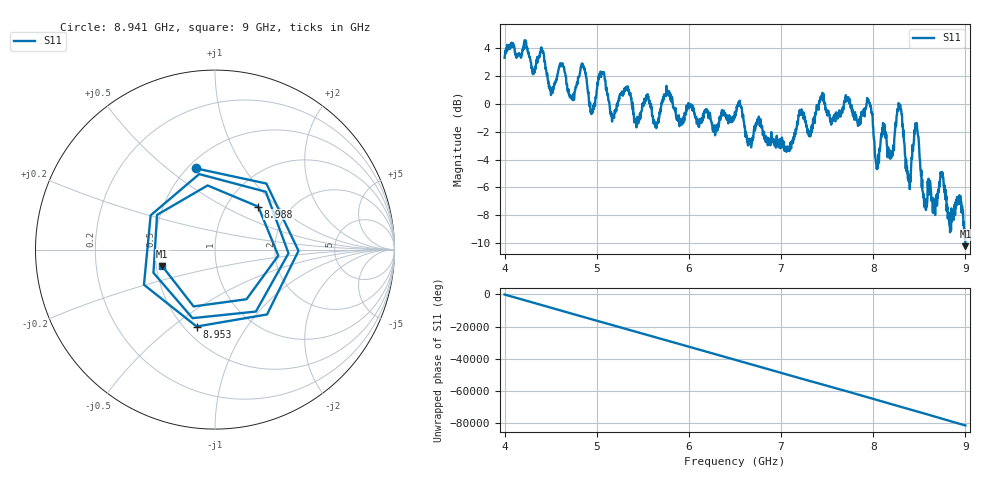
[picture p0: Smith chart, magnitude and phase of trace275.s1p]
! Created with skrf 1.8.0 (http://scikit-rf.org).
# Hz S RI R 50.0
!freq ReS11 ImS11
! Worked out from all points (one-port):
!   1601 points, 4 GHz to 9 GHz, reference 50 ohm
!   lowest |S11| = -10.2 dB at 9 GHz (marker M1), VSWR 1.89, Z = 26.9 - j5.52 ohm
!   |S11| at or under -10 dB: 8.999137 GHz to end of sweep
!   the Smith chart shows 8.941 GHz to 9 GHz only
!   S11 on the Smith chart (normalised r, x): 8.941 GHz: 0.55, +0.63; 8.953 GHz: 0.58, -0.61; 8.988 GHz: 1.40, +0.76; 9 GHz: 0.54, -0.11
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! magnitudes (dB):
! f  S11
! 4 GHz  3.3
! 4.403 GHz  4.0
! 4.506 GHz  0.7
! 4.625 GHz  2.8
! 4.731 GHz  0.4
! 4.853 GHz  2.7
! 4.944 GHz  -0.7
! 5.053 GHz  2.2
! 5.166 GHz  -1.3
! 5.25 GHz  0.7
! 5.875 GHz  -1.1
! 6.5 GHz  -0.6
! 7.125 GHz  -2.6
! 7.438 GHz  0.3
! 7.75 GHz  -0.1
! 7.956 GHz  0.1
! 8.044 GHz  -4.3
! 8.109 GHz  -1.4
! 8.203 GHz  -3.6
! 8.288 GHz  -0.3
! 8.375 GHz  -5.3
! 8.469 GHz  -1.6
! 8.559 GHz  -7.2
! 8.741 GHz  -5.1
! 8.941 GHz  -6.6
! 8.953 GHz  -7.1
! 8.988 GHz  -9.4
! 9 GHz  -10.2
